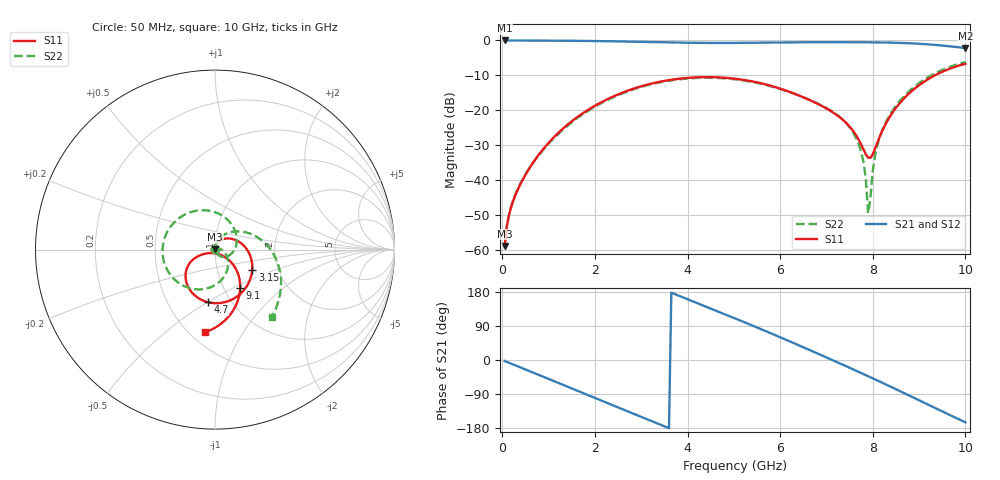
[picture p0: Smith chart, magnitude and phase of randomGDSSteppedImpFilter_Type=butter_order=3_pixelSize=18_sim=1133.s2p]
! freq	dB(S11)	phase(S11)	dB(S12)	phase(S12)
!  dB(S21)	phase(S21)	dB(S22)	phase(S22)
!S-par simulation data
#  GHz  S  DB  R 50
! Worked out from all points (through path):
!   200 points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, 50 MHz to 10 GHz, reference 50 ohm
!   highest |S21| = 0.00 dB at 50 MHz (marker M1); lowest = -2.2 dB at 10 GHz (marker M2)
!   group delay of S21, straight-line fit = 144 ps
!   lowest |S11| = -58.8 dB at 50 MHz (marker M3), VSWR 1.00, Z = 50 + j0.114 ohm
!   |S11| at or under -10 dB: start of sweep to 9.338 GHz
!   |S22| runs from -58.8 to -6.2 dB; largest |S21 - S12| = 0
!   S11 on the Smith chart (normalised r, x): 50 MHz: 1.00, +0.00; 3.15 GHz: 1.48, -0.35; 4.7 GHz: 0.78, -0.50; 9.1 GHz: 1.19, -0.54; 10 GHz: 0.59, -0.69
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0.05  -58.79 84.0  -0.00 -2.6  -0.00 -2.6  -58.81 78.8
0.2  -47.24 85.8  -0.02 -10.0  -0.02 -10.0  -47.03 63.6
0.5  -38.39 88.6  -0.03 -25.0  -0.03 -25.0  -38.30 37.3
1.15  -27.18 70.8  -0.07 -57.4  -0.07 -57.4  -27.46 -5.4
1.75  -20.71 42.5  -0.13 -87.5  -0.13 -87.5  -21.00 -37.1
2.4  -15.99 9.4  -0.25 -120.1  -0.25 -120.1  -16.22 -69.4
3.15  -12.56 -28.2  -0.44 -157.6  -0.44 -157.6  -12.76 -106.8
3.4  -11.81 -40.2  -0.51 -170.0  -0.51 -170.0  -12.00 -119.4
4  -10.71 -68.0  -0.65 160.5  -0.65 160.5  -10.89 -150.4
4.7  -10.58 -97.8  -0.71 126.0  -0.71 126.0  -10.76 171.1
5.05  -10.98 -111.5  -0.70 108.6  -0.70 108.6  -11.16 150.4
5.85  -13.16 -138.3  -0.60 67.9  -0.60 67.9  -13.29 96.6
6.7  -17.43 -155.6  -0.51 23.0  -0.51 23.0  -17.35 26.6
7.3  -22.09 -159.1  -0.50 -9.5  -0.50 -9.5  -22.02 -27.4
7.65  -27.34 -152.3  -0.51 -28.8  -0.51 -28.8  -28.20 -57.0
7.8  -31.16 -136.0  -0.52 -37.1  -0.52 -37.1  -34.83 -67.2
7.85  -32.53 -124.4  -0.53 -39.9  -0.53 -39.9  -39.44 -67.9
7.9  -33.49 -108.3  -0.53 -42.7  -0.53 -42.7  -49.38 -36.7
8.05  -30.94 -58.3  -0.55 -51.2  -0.55 -51.2  -32.89 84.1
8.35  -22.19 -36.6  -0.61 -68.3  -0.61 -68.3  -21.68 63.4
9.1  -11.87 -56.6  -1.03 -112.2  -1.03 -112.2  -11.28 9.4
10  -6.67 -96.8  -2.17 -164.4  -2.17 -164.4  -6.19 -50.0
